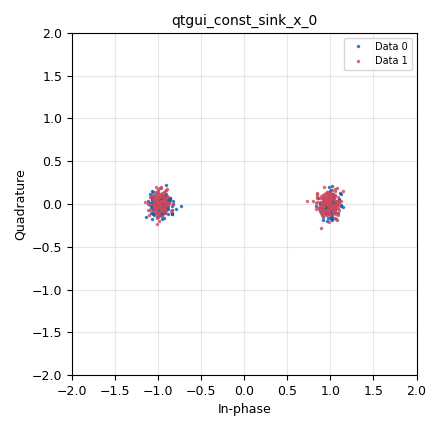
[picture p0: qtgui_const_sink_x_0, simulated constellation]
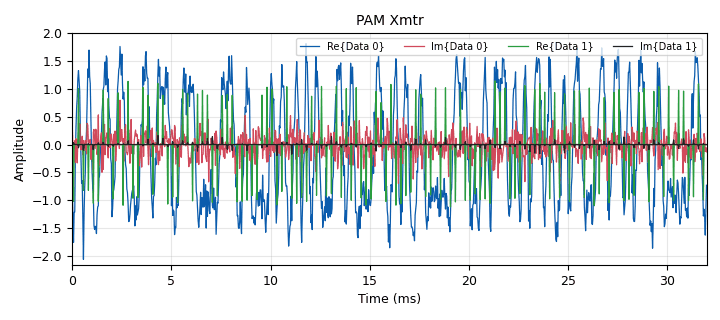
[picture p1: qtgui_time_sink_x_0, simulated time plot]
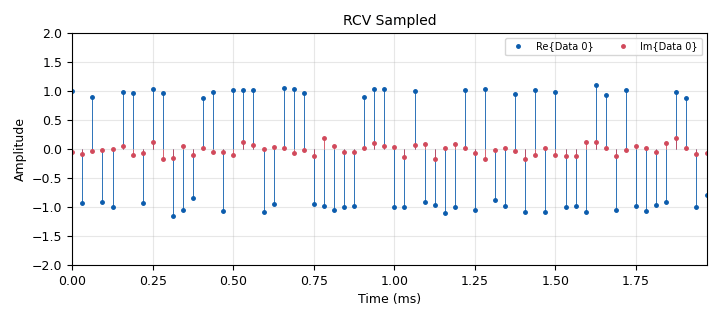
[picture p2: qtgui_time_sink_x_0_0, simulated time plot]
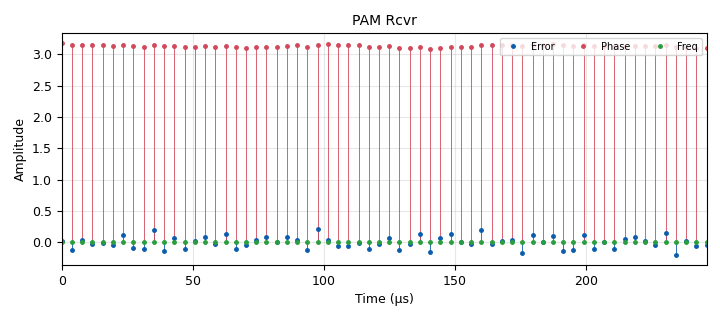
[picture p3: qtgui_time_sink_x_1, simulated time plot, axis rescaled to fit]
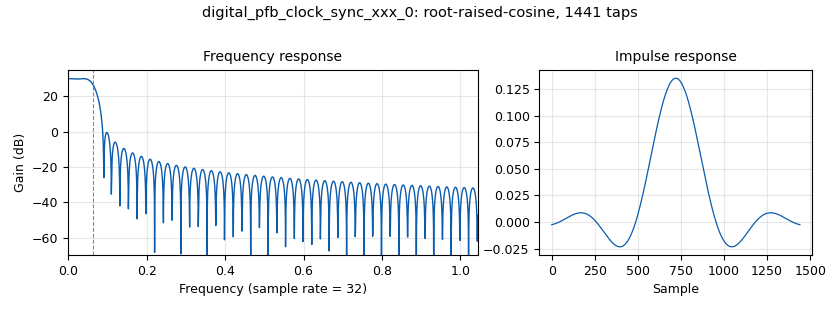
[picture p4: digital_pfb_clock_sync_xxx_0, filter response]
options:
  parameters:
    author: rcampello
    generate_options: qt_gui
    id: lab08_bpsk_001
    output_language: python
    run_command: python -u {filename}
    title: lab08_bpsk_001
  states: {}

blocks:
- name: An
  id: variable_qtgui_range
  parameters:
    gui_hint: 1, 0, 1, 1
    orient: Qt.Horizontal
    start: '0'
    step: '0.01'
    stop: '2'
    value: '0.3'
  states: {}
- name: FB
  id: variable
  parameters:
    value: '32000'
  states: {}
- name: Fs
  id: variable
  parameters:
    value: '256000'
  states: {}
- name: G
  id: variable_qtgui_range
  parameters:
    gui_hint: 0, 0, 1, 1
    orient: Qt.Horizontal
    start: '0'
    step: '0.01'
    stop: '2'
    value: '1'
  states: {}
- name: bpsk_const
  id: variable_constellation_rect
  parameters:
    const_points: '[-1, 1]'
    imag_sect: '2'
    real_sect: '2'
    rot_sym: '2'
    sym_map: '[0, 1]'
    w_imag_sect: '1'
    w_real_sect: '1'
  states: {}
- name: fe
  id: variable_qtgui_range
  parameters:
    gui_hint: 2, 0, 1, 1
    orient: Qt.Horizontal
    start: '-10'
    step: '0.1'
    stop: '10'
    value: '0'
  states: {}
- name: samp_rate
  id: variable
  parameters:
    value: '32000'
  states: {}
- name: sps
  id: variable
  parameters:
    value: '8'
  states: {}
- name: sym_dly
  id: variable_qtgui_range
  parameters:
    gui_hint: 0, 1, 1, 1
    orient: Qt.Horizontal
    rangeType: int
    start: '0'
    step: '1'
    stop: '16'
    value: '7'
  states: {}
- name: tag1
  id: variable_tag_object
  parameters:
    key: pmt.intern("key")
    offset: '0'
    src: pmt.intern("VecSrc")
    value: pmt.intern("value")
  states: {}
- name: theta1
  id: variable_qtgui_chooser
  parameters:
    gui_hint: 1, 1, 1, 1
    label0: '-90'
    label1: '0'
    label2: '90'
    label3: '180'
    num_opts: '4'
    option0: '-90'
    option1: '0'
    option2: '90'
    option3: '180'
    orient: Qt.QHBoxLayout
    type: int
    value: '0'
    widget: radio_buttons
  states: {}
- name: theta2
  id: variable_qtgui_range
  parameters:
    gui_hint: 2, 1, 1, 1
    orient: Qt.Horizontal
    start: '-180'
    step: '1'
    stop: '180'
    value: '0'
  states: {}
- name: analog_noise_source_x_0
  id: analog_noise_source_x
  parameters:
    amp: An
    noise_type: analog.GR_GAUSSIAN
    seed: '0'
    type: complex
  states: {}
- name: analog_sig_source_x_0
  id: analog_sig_source_x
  parameters:
    amp: '1'
    freq: fe
    offset: '0'
    phase: '0'
    samp_rate: Fs
    type: complex
    waveform: analog.GR_COS_WAVE
  states: {}
- name: blocks_add_xx_0
  id: blocks_add_xx
  parameters:
    type: complex
  states: {}
- name: blocks_delay_0
  id: blocks_delay
  parameters:
    delay: '3'
    type: complex
  states: {}
- name: blocks_delay_0_0
  id: blocks_delay
  parameters:
    delay: sym_dly
    type: byte
  states: {}
- name: blocks_file_sink_0
  id: blocks_file_sink
  parameters:
    file: /dev/pts/6
    type: byte
  states: {}
- name: blocks_multiply_const_vxx_0
  id: blocks_multiply_const_vxx
  parameters:
    const: G * np.exp(1j * np.pi * (theta1 + theta2) / 180)
    type: complex
  states: {}
- name: blocks_multiply_xx_0
  id: blocks_multiply_xx
  parameters:
    type: complex
  states: {}
- name: blocks_throttle_0
  id: blocks_throttle
  parameters:
    samples_per_second: Fs
    type: complex
  states: {}
- name: blocks_unpacked_to_packed_xx_0
  id: blocks_unpacked_to_packed_xx
  parameters:
    bits_per_chunk: '1'
    endianness: gr.GR_MSB_FIRST
    type: byte
  states: {}
- name: blocks_vector_source_x_0
  id: blocks_vector_source_x
  parameters:
    repeat: 'True'
    tags: '[tag1]'
    type: byte
    vector: '[ord(c) for c in "The quick brown fox... 123456789\n"]'
  states: {}
- name: digital_constellation_modulator_0
  id: digital_constellation_modulator
  parameters:
    constellation: bpsk_const
    differential: 'False'
    excess_bw: '0.35'
    samples_per_symbol: sps
  states: {}
- name: digital_constellation_receiver_cb_0
  id: digital_constellation_receiver_cb
  parameters:
    constellation: bpsk_const
    fmax: '100'
    fmin: '-100'
    loop_bw: '0.0625'
  states: {}
- name: digital_pfb_clock_sync_xxx_0
  id: digital_pfb_clock_sync_xxx
  parameters:
    filter_size: '32'
    init_phase: '16'
    loop_bw: '0.06'
    max_dev: '1.5'
    osps: '1'
    sps: sps
    taps: firdes.root_raised_cosine(32, 32, 1/sps, 0.35, 45 * 32)
    type: ccf
  states: {}
- name: import_0
  id: import
  parameters:
    imports: import numpy as np
  states: {}
- name: interp_fir_filter_xxx_0
  id: interp_fir_filter_xxx
  parameters:
    interp: sps
    taps: '1'
    type: ccc
  states: {}
- name: qtgui_const_sink_x_0
  id: qtgui_const_sink_x
  parameters:
    grid: 'True'
    gui_hint: 3, 0, 1, 1
    nconnections: '2'
    size: '256'
    type: complex
  states: {}
- name: qtgui_time_sink_x_0
  id: qtgui_time_sink_x
  parameters:
    grid: 'True'
    gui_hint: 4, 0, 1, 1
    label1: Re{Data 0}
    label2: Im{Data 0}
    label3: Re{Data 1}
    label4: Im{Data 1}
    name: '"PAM Xmtr"'
    nconnections: '2'
    size: '1024'
    srate: samp_rate
    tr_delay: 2 / samp_rate
    tr_mode: qtgui.TRIG_MODE_TAG
    tr_tag: '"key"'
    type: complex
    ymax: '2'
    ymin: '-2'
  states: {}
- name: qtgui_time_sink_x_0_0
  id: qtgui_time_sink_x
  parameters:
    grid: 'True'
    gui_hint: 3, 1, 1, 1
    label1: Re{Data 0}
    label2: Im{Data 0}
    marker1: '0'
    name: '"RCV Sampled"'
    size: '64'
    srate: samp_rate
    stemplot: 'True'
    tr_delay: 2 / samp_rate
    tr_mode: qtgui.TRIG_MODE_TAG
    tr_tag: '"key"'
    type: complex
    ymax: '2'
    ymin: '-2'
  states: {}
- name: qtgui_time_sink_x_1
  id: qtgui_time_sink_x
  parameters:
    gui_hint: 4, 1, 1, 1
    label1: Error
    label2: Phase
    label3: Freq
    marker1: '0'
    marker2: '0'
    marker3: '0'
    name: '"PAM Rcvr"'
    nconnections: '3'
    size: '64'
    srate: Fs
    stemplot: 'True'
    tr_delay: 2 / Fs
    tr_mode: qtgui.TRIG_MODE_TAG
    tr_tag: '"key"'
    type: float
    ymax: '2'
    ymin: '-2'
  states: {}

connections:
- [analog_noise_source_x_0, '0', blocks_add_xx_0, '0']
- [analog_sig_source_x_0, '0', blocks_multiply_xx_0, '1']
- [blocks_add_xx_0, '0', blocks_multiply_xx_0, '0']
- [blocks_add_xx_0, '0', qtgui_time_sink_x_0, '0']
- [blocks_delay_0, '0', interp_fir_filter_xxx_0, '0']
- [blocks_delay_0_0, '0', blocks_unpacked_to_packed_xx_0, '0']
- [blocks_multiply_const_vxx_0, '0', digital_pfb_clock_sync_xxx_0, '0']
- [blocks_multiply_xx_0, '0', blocks_multiply_const_vxx_0, '0']
- [blocks_throttle_0, '0', blocks_add_xx_0, '1']
- [blocks_unpacked_to_packed_xx_0, '0', blocks_file_sink_0, '0']
- [blocks_vector_source_x_0, '0', digital_constellation_modulator_0, '0']
- [digital_constellation_modulator_0, '0', blocks_throttle_0, '0']
- [digital_constellation_receiver_cb_0, '0', blocks_delay_0_0, '0']
- [digital_constellation_receiver_cb_0, '1', qtgui_time_sink_x_1, '0']
- [digital_constellation_receiver_cb_0, '2', qtgui_time_sink_x_1, '1']
- [digital_constellation_receiver_cb_0, '3', qtgui_time_sink_x_1, '2']
- [digital_constellation_receiver_cb_0, '4', qtgui_const_sink_x_0, '1']
- [digital_pfb_clock_sync_xxx_0, '0', blocks_delay_0, '0']
- [digital_pfb_clock_sync_xxx_0, '0', digital_constellation_receiver_cb_0, '0']
- [digital_pfb_clock_sync_xxx_0, '0', qtgui_const_sink_x_0, '0']
- [digital_pfb_clock_sync_xxx_0, '0', qtgui_time_sink_x_0_0, '0']
- [interp_fir_filter_xxx_0, '0', qtgui_time_sink_x_0, '1']

metadata:
  file_format: 1
